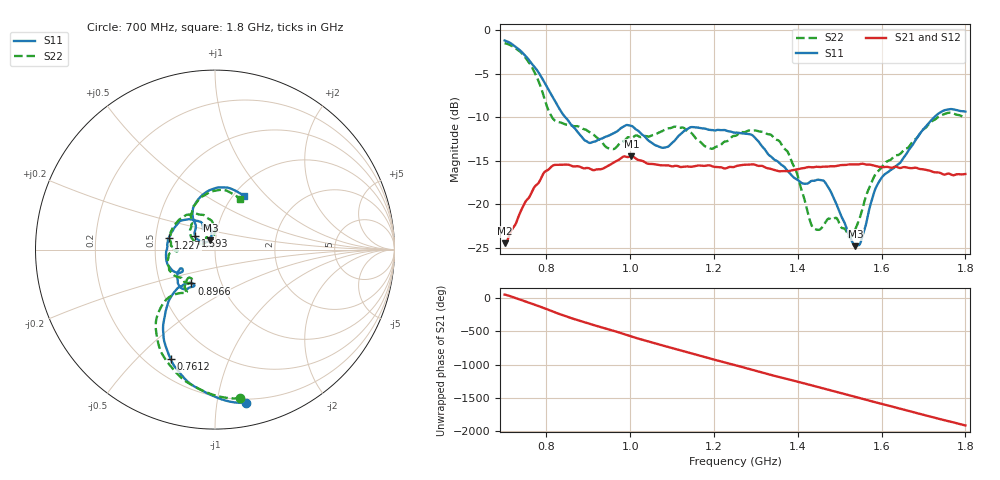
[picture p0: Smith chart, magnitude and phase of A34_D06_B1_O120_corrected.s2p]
! Created with skrf 1.9.0 (http://scikit-rf.org).
# Hz S RI R 50.0
!freq ReS11 ImS11 ReS21 ImS21 ReS12 ImS12 ReS22 ImS22
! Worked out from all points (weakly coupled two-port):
!   1601 points, 700 MHz to 1.8 GHz, reference 50 ohm
!   highest |S21| = -14.49 dB at 1.002 GHz (marker M1); lowest = -24.5 dB at 700.7 MHz (marker M2)
!   lowest |S11| = -24.8 dB at 1.537 GHz (marker M3), VSWR 1.12, Z = 47.2 + j4.86 ohm
!   |S11| at or under -10 dB: 845 MHz to 1.726 GHz (880.8 MHz wide, 68.5 % of centre)
!   |S22| runs from -23.8 to -1.5 dB; largest |S21 - S12| = 0.0035
!   S11 on the Smith chart (normalised r, x): 700 MHz: 0.17, -1.21; 761.2 MHz: 0.29, -0.63; 896.6 MHz: 0.72, -0.29; 1.227 GHz: 0.58, +0.08; 1.593 GHz: 0.79, +0.12; 1.8 GHz: 1.12, +0.76
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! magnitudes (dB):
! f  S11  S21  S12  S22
! 700 MHz  -1.2  -24.5  -24.2  -1.5
! 700.7 MHz  -1.2  -24.5  -24.2  -1.5
! 761.2 MHz  -3.6  -19.0  -18.9  -3.9
! 816.2 MHz  -7.8  -15.5  -15.6  -10.2
! 883.6 MHz  -12.2  -15.8  -15.7  -11.3
! 896.6 MHz  -12.8  -15.8  -15.9  -11.5
! 954.4 MHz  -12.0  -15.4  -15.4  -13.6
! 1.002 GHz  -11.0  -14.5  -14.6  -12.4
! 1.067 GHz  -13.4  -15.5  -15.4  -11.8
! 1.145 GHz  -11.1  -15.7  -15.7  -11.8
! 1.192 GHz  -11.5  -15.6  -15.6  -13.6
! 1.227 GHz  -11.5  -15.9  -15.8  -12.8
! 1.25 GHz  -11.8  -15.7  -15.6  -12.1
! 1.357 GHz  -15.3  -16.2  -16.1  -12.8
! 1.395 GHz  -17.1  -16.0  -16.0  -16.0
! 1.434 GHz  -17.3  -15.8  -15.7  -22.5
! 1.468 GHz  -17.7  -15.7  -15.7  -21.9
! 1.537 GHz  -24.8  -15.4  -15.4  -22.8
! 1.593 GHz  -17.5  -15.7  -15.7  -16.1
! 1.617 GHz  -16.2  -15.7  -15.7  -15.0
! 1.733 GHz  -9.7  -16.3  -16.4  -10.0
! 1.8 GHz  -9.4  -16.5  -16.5  -10.1
